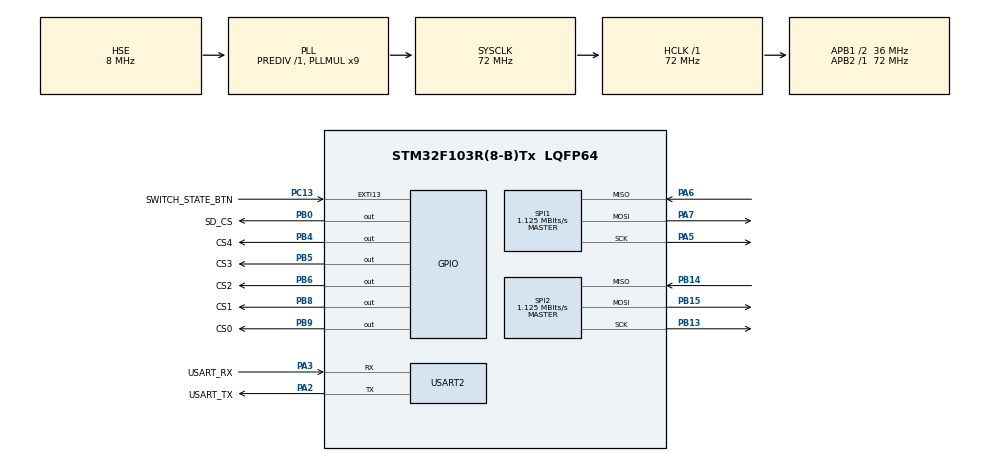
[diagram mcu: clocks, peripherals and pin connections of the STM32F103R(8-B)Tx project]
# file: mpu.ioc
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Dma.Request0=SPI2_RX
Dma.Request1=SPI2_TX
Dma.SPI2_RX.0.Direction=DMA_PERIPH_TO_MEMORY
Dma.SPI2_RX.0.Instance=DMA1_Channel4
Dma.SPI2_RX.0.MemDataAlignment=DMA_MDATAALIGN_BYTE
Dma.SPI2_RX.0.MemInc=DMA_MINC_ENABLE
Dma.SPI2_RX.0.Mode=DMA_NORMAL
Dma.SPI2_RX.0.PeriphDataAlignment=DMA_PDATAALIGN_BYTE
Dma.SPI2_RX.0.PeriphInc=DMA_PINC_DISABLE
Dma.SPI2_RX.0.Priority=DMA_PRIORITY_LOW
Dma.SPI2_TX.1.Direction=DMA_MEMORY_TO_PERIPH
Dma.SPI2_TX.1.Instance=DMA1_Channel5
Dma.SPI2_TX.1.MemDataAlignment=DMA_MDATAALIGN_BYTE
Dma.SPI2_TX.1.MemInc=DMA_MINC_ENABLE
Dma.SPI2_TX.1.Mode=DMA_NORMAL
Dma.SPI2_TX.1.PeriphDataAlignment=DMA_PDATAALIGN_BYTE
Dma.SPI2_TX.1.PeriphInc=DMA_PINC_DISABLE
Dma.SPI2_TX.1.Priority=DMA_PRIORITY_LOW
Mcu.Family=STM32F1
Mcu.Name=STM32F103R(8-B)Tx
Mcu.Package=LQFP64
NVIC.DMA1_Channel4_IRQn=true\:0\:0\:false\:false\:true\:false\:true\:true
NVIC.DMA1_Channel5_IRQn=true\:0\:0\:false\:false\:true\:false\:true\:true
NVIC.EXTI15_10_IRQn=true\:0\:0\:false\:false\:true\:true\:true\:true
NVIC.PriorityGroup=NVIC_PRIORITYGROUP_4
PA13.GPIO_Label=TMS
PA13.Mode=Serial_Wire
PA13.Signal=SYS_JTMS-SWDIO
PA14.GPIO_Label=TCK
PA14.Mode=Serial_Wire
PA14.Signal=SYS_JTCK-SWCLK
PA2.GPIO_Label=USART_TX
PA2.GPIO_Mode=GPIO_MODE_AF_PP
PA2.GPIO_PuPd=GPIO_NOPULL
PA2.GPIO_Speed=GPIO_SPEED_FREQ_LOW
PA2.Mode=Asynchronous
PA2.Signal=USART2_TX
PA3.GPIO_Label=USART_RX
PA3.GPIO_Mode=GPIO_MODE_AF_PP
PA3.GPIO_PuPd=GPIO_NOPULL
PA3.GPIO_Speed=GPIO_SPEED_FREQ_LOW
PA3.Mode=Asynchronous
PA3.Signal=USART2_RX
PA5.Mode=Full_Duplex_Master
PA5.Signal=SPI1_SCK
PA6.Mode=Full_Duplex_Master
PA6.Signal=SPI1_MISO
PA7.Mode=Full_Duplex_Master
PA7.Signal=SPI1_MOSI
PB0.GPIO_Label=SD_CS
PB0.GPIO_PuPd=GPIO_PULLUP
PB0.PinState=GPIO_PIN_SET
PB0.Signal=GPIO_Output
PB13.Mode=Full_Duplex_Master
PB13.Signal=SPI2_SCK
PB14.Mode=Full_Duplex_Master
PB14.Signal=SPI2_MISO
PB15.Mode=Full_Duplex_Master
PB15.Signal=SPI2_MOSI
PB3.GPIO_Label=SWO
PB3.Signal=SYS_JTDO-TRACESWO
PB4.GPIO_Label=CS4
PB4.GPIO_PuPd=GPIO_PULLUP
PB4.GPIO_Speed=GPIO_SPEED_FREQ_LOW
PB4.PinState=GPIO_PIN_SET
PB4.Signal=GPIO_Output
PB5.GPIO_Label=CS3
PB5.GPIO_PuPd=GPIO_PULLUP
PB5.GPIO_Speed=GPIO_SPEED_FREQ_LOW
PB5.PinState=GPIO_PIN_SET
PB5.Signal=GPIO_Output
PB6.GPIO_Label=CS2
PB6.GPIO_PuPd=GPIO_PULLUP
PB6.GPIO_Speed=GPIO_SPEED_FREQ_LOW
PB6.PinState=GPIO_PIN_SET
PB6.Signal=GPIO_Output
PB8.GPIO_Label=CS1
PB8.GPIO_PuPd=GPIO_PULLUP
PB8.PinState=GPIO_PIN_SET
PB8.Signal=GPIO_Output
PB9.GPIO_Label=CS0
PB9.GPIO_PuPd=GPIO_PULLUP
PB9.PinState=GPIO_PIN_SET
PB9.Signal=GPIO_Output
PC13-TAMPER-RTC.GPIO_Label=SWITCH_STATE_BTN
PC13-TAMPER-RTC.GPIO_ModeDefaultEXTI=GPIO_MODE_IT_FALLING
PC13-TAMPER-RTC.Signal=GPXTI13
PC14-OSC32_IN.Mode=LSE-External-Oscillator
PC14-OSC32_IN.Signal=RCC_OSC32_IN
PC15-OSC32_OUT.Mode=LSE-External-Oscillator
PC15-OSC32_OUT.Signal=RCC_OSC32_OUT
PD0-OSC_IN.Mode=HSE-External-Oscillator
PD0-OSC_IN.Signal=RCC_OSC_IN
PD1-OSC_OUT.Mode=HSE-External-Oscillator
PD1-OSC_OUT.Signal=RCC_OSC_OUT
ProjectManager.HeapSize=0x200
ProjectManager.StackSize=0x400
ProjectManager.TargetToolchain=MDK-ARM V5.32
RCC.AHBFreq_Value=72000000
RCC.APB1CLKDivider=RCC_HCLK_DIV2
RCC.APB1Freq_Value=36000000
RCC.APB1TimFreq_Value=72000000
RCC.APB2Freq_Value=72000000
RCC.APB2TimFreq_Value=72000000
RCC.HCLKFreq_Value=72000000
RCC.PLLMUL=RCC_PLL_MUL9
RCC.PLLSourceVirtual=RCC_PLLSOURCE_HSE
RCC.RTCClockSelection=RCC_RTCCLKSOURCE_LSE
RCC.SYSCLKFreq_VALUE=72000000
RCC.SYSCLKSource=RCC_SYSCLKSOURCE_PLLCLK
RCC.USBFreq_Value=72000000
SPI1.BaudRatePrescaler=SPI_BAUDRATEPRESCALER_64
SPI1.CalculateBaudRate=1.125 MBits/s
SPI1.Direction=SPI_DIRECTION_2LINES
SPI1.Mode=SPI_MODE_MASTER
SPI1.VirtualType=VM_MASTER
SPI2.BaudRatePrescaler=SPI_BAUDRATEPRESCALER_32
SPI2.CalculateBaudRate=1.125 MBits/s
SPI2.Direction=SPI_DIRECTION_2LINES
SPI2.Mode=SPI_MODE_MASTER
SPI2.VirtualType=VM_MASTER
USART2.VirtualMode=VM_ASYNC
board=NUCLEO-F103RB

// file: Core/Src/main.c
/* USER CODE BEGIN Header */
/**
  ******************************************************************************
  * @file           : main.c
  * @brief          : Main program body
  ******************************************************************************
  * @attention
  *
  * Copyright (c) 2025 STMicroelectronics.
  * All rights reserved.
  *
  * This software is licensed under terms that can be found in the LICENSE file
  * in the root directory of this software component.
  * If no LICENSE file comes with this software, it is provided AS-IS.
  *
  ******************************************************************************
  */
/* USER CODE END Header */
#include "main.h"

/* USER CODE BEGIN Includes */

#include "stdio.h"
#include "string.h"

#include "mpu6050.h"
#include "sd.h"

/* USER CODE END Includes */

/* USER CODE BEGIN PTD */

typedef struct
{
    MPU6500_t mpu_state;

		// CS info
	  GPIO_TypeDef *cs_port;
    uint16_t      cs_pin;

} MPUDescr_t;

typedef struct __attribute__((packed)) {
    uint8_t mpu_id;
    float   kx; // roll
    float   ky; // pitch
} LogPacket_t;

typedef enum
{
	NONE = 0,
	WRITE = 1,
  WAIT_AFTER_WRITE = 2,
	READ = 3,
	WAIT_AFTER_READ = 4,
	STATES_NUM = 5
} ProgState_t;

typedef enum
{
  CHUNK_FREE = 0,
  CHUNK_COMMITTED = 1,
  CHUNK_LOCKED = -1,
  CHUNK_IN_TRANSACTION = 2,
} Chunk_state_t;

typedef struct
{
  uint8_t packNum;
  uint8_t * dataPtr;
} PeekResults;

#define LOG_BUFFER_SIZE 1024
#define NUM_CHUNKS 2
typedef struct
{
    uint8_t  data[LOG_BUFFER_SIZE];

    volatile uint16_t head;
    volatile uint16_t tail;
		volatile int8_t states_of_chunks[NUM_CHUNKS];

} RingBuffer_t;

/* USER CODE END PTD */

/* USER CODE BEGIN PD */

#define NUM_MPU_SPI 5
#define MAX_BLOCK_BYTES_NUM 504
#define PACKET_SIZE 9

/* USER CODE END PD */

SPI_HandleTypeDef hspi1;
SPI_HandleTypeDef hspi2;
DMA_HandleTypeDef hdma_spi2_rx;
DMA_HandleTypeDef hdma_spi2_tx;

UART_HandleTypeDef huart2;

/* USER CODE BEGIN PV */

static volatile ProgState_t curr_state = NONE;

static volatile uint8_t is_changed_state = 0;
static volatile uint32_t sd_write_block_counter = 0;
static volatile uint8_t need_send = 1;

volatile uint32_t last_click_ticks = 0u;

static MPUDescr_t mpu_descriptors[5] = {
    { {0}, CS0_GPIO_Port, CS0_Pin },
    { {0}, CS1_GPIO_Port, CS1_Pin },
    { {0}, CS2_GPIO_Port, CS2_Pin },
    { {0}, CS3_GPIO_Port, CS3_Pin },
		{ {0}, CS4_GPIO_Port, CS4_Pin },
};

static RingBuffer_t log_rb;

/* USER CODE END PV */

void SystemClock_Config(void);
static void MX_GPIO_Init(void);
static void MX_DMA_Init(void);
static void MX_USART2_UART_Init(void);
static void MX_SPI1_Init(void);
static void MX_SPI2_Init(void);

/* USER CODE BEGIN 0 */

static inline void rb_init(RingBuffer_t *rb)
{
    rb->head = 0;
    rb->tail = 0;

    for (int i = 0; i < NUM_CHUNKS; i++) {
        rb->states_of_chunks[i] = CHUNK_FREE;
    }

    memset(rb->data, 0, sizeof(rb->data));
}

static inline uint32_t chunk_start_ind(uint16_t chunk_id)
{
  return (uint32_t)chunk_id * SD_CHUNK_SIZE;
}

static inline uint32_t chunk_end_bound(uint16_t chunk_id)
{
  return chunk_start_ind(chunk_id) + MAX_BLOCK_BYTES_NUM;
}

static inline uint8_t curr_chunk(uint16_t curr_ind)
{
  return (curr_ind / SD_CHUNK_SIZE) % NUM_CHUNKS;
}

inline static uint8_t next_chunk(uint16_t chunk_id)
{
  return (chunk_id + 1) % NUM_CHUNKS;
}

static int16_t rb_push_bytes(uint8_t * src, uint16_t len)
{

  if (len == 0 || len > MAX_BLOCK_BYTES_NUM)
    return 0;

  uint8_t operated_chunk = curr_chunk(log_rb.head);

  if (log_rb.states_of_chunks[operated_chunk] != CHUNK_FREE)
    return -1;

  uint32_t start = chunk_start_ind(operated_chunk);
  uint32_t bound = start + MAX_BLOCK_BYTES_NUM;

  uint32_t offset_in_chunk = log_rb.head - start;
  uint32_t avail = MAX_BLOCK_BYTES_NUM - offset_in_chunk;

  if (len > avail)
  {
    return 0;
  }

  for (uint16_t i = 0; i < len; i++) {
      log_rb.data[(log_rb.head)++] = src[i];
  }

  log_rb.data[start + SD_CHUNK_SIZE - 1] += (len / PACKET_SIZE);

  if (log_rb.head == bound)
  {
    log_rb.states_of_chunks[operated_chunk] = CHUNK_LOCKED;
    log_rb.head = chunk_start_ind(next_chunk(operated_chunk));
  }

  return len;
}

static int16_t log_push_packet(uint8_t mpu_idx, const MPU6500_t *mpu_state)
{
    LogPacket_t pkt;
    pkt.mpu_id = mpu_idx;
    pkt.kx = (float)mpu_state->KalmanAngleX;
    pkt.ky = (float)mpu_state->KalmanAngleY;

    return rb_push_bytes((uint8_t *) &pkt, sizeof(pkt));
}

void parse_and_send_packets(const uint8_t *data, uint16_t packet_num)
{
    if (packet_num == 0)
        return;
    const uint16_t max_packets = MAX_BLOCK_BYTES_NUM / PACKET_SIZE;
    if (packet_num > max_packets) packet_num = max_packets;

    char line[64];

    for (uint16_t i = 0; i < packet_num; ++i) {

        const uint32_t offset = (uint32_t)i * PACKET_SIZE;
        if (offset + PACKET_SIZE > SD_CHUNK_SIZE) break;

        LogPacket_t pkt;
        memcpy(&pkt, data + i * PACKET_SIZE, PACKET_SIZE);

        int len = snprintf(line, sizeof(line),
                           "#%d#%.4f#%.4f\r\n",
                           pkt.mpu_id, pkt.kx, pkt.ky);
        if (len <= 0) {
            break;
        }
        if (len >= (int)sizeof(line))
				{
            len = sizeof(line) - 1;
        }

        HAL_UART_Transmit(&huart2, (uint8_t*)line, (uint16_t)len, HAL_MAX_DELAY);
    }
}

static void log_peek_chunk(PeekResults *pRes)
{
    uint16_t tail = log_rb.tail;
    uint8_t chunk_id = curr_chunk(tail);

    uint32_t start = chunk_start_ind(chunk_id);

    pRes->dataPtr = &log_rb.data[start];

    pRes->packNum = log_rb.data[start + SD_CHUNK_SIZE - 1];
}

static void send_mpu_data(uint8_t idx)
{
		MPU6500_t* mpu_state = &mpu_descriptors[idx].mpu_state;

    char buf[64];

		int len = snprintf(buf, sizeof(buf),
											 "#%d#%.4f#%.4f\r\n",
											 idx,
											 mpu_state->KalmanAngleX,
                       mpu_state->KalmanAngleY);

    if (len > 0 && len < (int)sizeof(buf))
		{
        HAL_UART_Transmit(&huart2, (uint8_t *)buf, (uint16_t)len, 100);
    }
}

static void none_state_act(uint8_t* raw){
  for (int i = 0; i < NUM_MPU_SPI; ++i) {
    if (mpu_read_registers(&hspi1, mpu_descriptors[i].cs_port, mpu_descriptors[i].cs_pin, ACCEL_XOUT_H_REG, raw, 14) == HAL_OK)
    {
      process_mpu_data(&mpu_descriptors[i].mpu_state, raw);
      send_mpu_data(i);
    }
  }
}

static uint8_t iterate_sent_chunks(){
  uint8_t processed_num = 0u;
  for(int i = 0; i < NUM_CHUNKS; i++){
		uint8_t last_tail = 0;

    switch (log_rb.states_of_chunks[i]){
      case CHUNK_LOCKED:
        last_tail = log_rb.tail;
        PeekResults chunkInf;
        log_peek_chunk(&chunkInf);
        log_rb.states_of_chunks[i] = CHUNK_IN_TRANSACTION;

        int DMA_send_status = SD_StartWriteBlock(START_BLOCK_NUM + sd_write_block_counter, chunkInf.dataPtr, 100);
        if(DMA_send_status != HAL_OK){
          log_rb.tail = last_tail;
          log_rb.states_of_chunks[i] = CHUNK_LOCKED;
        }
        //processed_num++;
        break;
			case CHUNK_COMMITTED:
					SD_FinishWriteBlock();
					sd_write_block_counter++;
					log_rb.states_of_chunks[i] = CHUNK_FREE;

					uint8_t chunk_id = curr_chunk(log_rb.tail);
					log_rb.tail = chunk_start_ind((chunk_id + 1) % NUM_CHUNKS);

					uint32_t start = chunk_start_ind(i);
					log_rb.data[start + SD_CHUNK_SIZE - 1] = 0;
					break;
      case CHUNK_IN_TRANSACTION:
        processed_num++;
        break;
    }
  }
  return processed_num;
}

static void write_state_act(uint8_t* raw)
{
  if(is_changed_state)
  {
    rb_init(&log_rb);
    is_changed_state = 0u;
  }

  for (int i = 0; i < NUM_MPU_SPI; ++i) {
    if (mpu_read_registers(&hspi1, mpu_descriptors[i].cs_port, mpu_descriptors[i].cs_pin, ACCEL_XOUT_H_REG, raw, 14) == HAL_OK)
    {
      process_mpu_data(&mpu_descriptors[i].mpu_state, raw);
      uint16_t push_res = log_push_packet(i, &mpu_descriptors[i].mpu_state);
      if(push_res > 0){
        send_mpu_data(i);
      }
      iterate_sent_chunks();
    }
  }
}

static void read_state_act()
{
  if(is_changed_state)
  {
    rb_init(&log_rb);
    is_changed_state = 0u;
  }

	if(sd_write_block_counter != 0)
	{
    int code = SD_ReadBegin(START_BLOCK_NUM);
    if(code < 0) {
        return;
    }
    for (int i = 0; i < sd_write_block_counter; i++){
      code = SD_ReadData(log_rb.data);
      if(code >= 0)
      {
        uint8_t packet_num = log_rb.data[SD_CHUNK_SIZE-1];
        if (packet_num == 0 || packet_num > MAX_BLOCK_BYTES_NUM/PACKET_SIZE){
          continue;
        }
        parse_and_send_packets(log_rb.data, packet_num);
      }
    }

    code = SD_ReadEnd();
    if(code < 0)
    {
        return;
    }

		curr_state = WAIT_AFTER_READ;
		sd_write_block_counter = 0;
	}
}

static void poll_loop_spi(void)
{
  uint8_t raw_data[14];
  while (1)
  {
    switch(curr_state)
    {
      case NONE:
        none_state_act(raw_data);
        break;
      case WRITE:
        write_state_act(raw_data);
        break;
      case WAIT_AFTER_WRITE:
        if(need_send)
        {
          need_send = iterate_sent_chunks();
        }
        break;
      case READ:
        read_state_act();
        break;
      default:
        break;
    }
  }
}

void HAL_SPI_TxCpltCallback(SPI_HandleTypeDef *hspi)
{
    if(hspi == &SD_SPI_PORT) {
      for(int i = 0; i < NUM_CHUNKS; i++)
      {
        if(log_rb.states_of_chunks[i] == CHUNK_IN_TRANSACTION)
        {
          log_rb.states_of_chunks[i] = CHUNK_COMMITTED;
        }
      }
    }
}

void HAL_GPIO_EXTI_Callback(uint16_t GPIO_Pin)
{
	if(GPIO_Pin == SWITCH_STATE_BTN_Pin)
	{
		uint32_t curr_click_ticks = HAL_GetTick();
		if(curr_click_ticks - last_click_ticks >= MIN_CLICK_INTERVAL)
		{
			last_click_ticks = curr_click_ticks;
			if(curr_state == WAIT_AFTER_WRITE && need_send != 0)
			{
					return;
			}

			if(++curr_state == STATES_NUM)
			{
				curr_state = NONE;
			}

			is_changed_state = 1;
		}
	}
}

/* USER CODE END 0 */

int main(void)
{

  /* MCU Configuration--------------------------------------------------------*/

  /* Reset of all peripherals, Initializes the Flash interface and the Systick. */
  HAL_Init();

  /* Configure the system clock */
  SystemClock_Config();

  /* Initialize all configured peripherals */
  MX_GPIO_Init();
  MX_DMA_Init();
  MX_USART2_UART_Init();
  MX_SPI1_Init();
  MX_SPI2_Init();
  /* USER CODE BEGIN 2 */

	last_click_ticks = HAL_GetTick();
	SD_Init();

	rb_init(&log_rb);

  for (int i = 0; i < NUM_MPU_SPI; ++i) {
      init_mpu(&hspi1, mpu_descriptors[i].cs_port, mpu_descriptors[i].cs_pin);
  }
	HAL_Delay(100);
	for (int i = 0; i < NUM_MPU_SPI; ++i)
	{
		mpu_descriptors[i].mpu_state.timer = HAL_GetTick();

		Kalman_Init(&mpu_descriptors[i].mpu_state.KalmanX);
		Kalman_Init(&mpu_descriptors[i].mpu_state.KalmanY);
	}
	curr_state = NONE;
  poll_loop_spi();
  /* USER CODE END 2 */

  /* Infinite loop */
  /* USER CODE BEGIN WHILE */
//  while (1)
//  {
//
    /* USER CODE END WHILE */

    /* USER CODE BEGIN 3 */
//  }
  /* USER CODE END 3 */
}

void SystemClock_Config(void)
{
  RCC_OscInitTypeDef RCC_OscInitStruct = {0};
  RCC_ClkInitTypeDef RCC_ClkInitStruct = {0};

  /** Initializes the RCC Oscillators according to the specified parameters
  * in the RCC_OscInitTypeDef structure.
  */
  RCC_OscInitStruct.OscillatorType = RCC_OSCILLATORTYPE_HSE;
  RCC_OscInitStruct.HSEState = RCC_HSE_ON;
  RCC_OscInitStruct.HSEPredivValue = RCC_HSE_PREDIV_DIV1;
  RCC_OscInitStruct.HSIState = RCC_HSI_ON;
  RCC_OscInitStruct.PLL.PLLState = RCC_PLL_ON;
  RCC_OscInitStruct.PLL.PLLSource = RCC_PLLSOURCE_HSE;
  RCC_OscInitStruct.PLL.PLLMUL = RCC_PLL_MUL9;
  if (HAL_RCC_OscConfig(&RCC_OscInitStruct) != HAL_OK)
  {
    Error_Handler();
  }

  /** Initializes the CPU, AHB and APB buses clocks
  */
  RCC_ClkInitStruct.ClockType = RCC_CLOCKTYPE_HCLK|RCC_CLOCKTYPE_SYSCLK
                              |RCC_CLOCKTYPE_PCLK1|RCC_CLOCKTYPE_PCLK2;
  RCC_ClkInitStruct.SYSCLKSource = RCC_SYSCLKSOURCE_PLLCLK;
  RCC_ClkInitStruct.AHBCLKDivider = RCC_SYSCLK_DIV1;
  RCC_ClkInitStruct.APB1CLKDivider = RCC_HCLK_DIV2;
  RCC_ClkInitStruct.APB2CLKDivider = RCC_HCLK_DIV1;

  if (HAL_RCC_ClockConfig(&RCC_ClkInitStruct, FLASH_LATENCY_2) != HAL_OK)
  {
    Error_Handler();
  }
}

static void MX_SPI1_Init(void)
{

  /* SPI1 parameter configuration*/
  hspi1.Instance = SPI1;
  hspi1.Init.Mode = SPI_MODE_MASTER;
  hspi1.Init.Direction = SPI_DIRECTION_2LINES;
  hspi1.Init.DataSize = SPI_DATASIZE_8BIT;
  hspi1.Init.CLKPolarity = SPI_POLARITY_LOW;
  hspi1.Init.CLKPhase = SPI_PHASE_1EDGE;
  hspi1.Init.NSS = SPI_NSS_SOFT;
  hspi1.Init.BaudRatePrescaler = SPI_BAUDRATEPRESCALER_64;
  hspi1.Init.FirstBit = SPI_FIRSTBIT_MSB;
  hspi1.Init.TIMode = SPI_TIMODE_DISABLE;
  hspi1.Init.CRCCalculation = SPI_CRCCALCULATION_DISABLE;
  hspi1.Init.CRCPolynomial = 10;
  if (HAL_SPI_Init(&hspi1) != HAL_OK)
  {
    Error_Handler();
  }

}

static void MX_SPI2_Init(void)
{

  /* SPI2 parameter configuration*/
  hspi2.Instance = SPI2;
  hspi2.Init.Mode = SPI_MODE_MASTER;
  hspi2.Init.Direction = SPI_DIRECTION_2LINES;
  hspi2.Init.DataSize = SPI_DATASIZE_8BIT;
  hspi2.Init.CLKPolarity = SPI_POLARITY_LOW;
  hspi2.Init.CLKPhase = SPI_PHASE_1EDGE;
  hspi2.Init.NSS = SPI_NSS_SOFT;
  hspi2.Init.BaudRatePrescaler = SPI_BAUDRATEPRESCALER_32;
  hspi2.Init.FirstBit = SPI_FIRSTBIT_MSB;
  hspi2.Init.TIMode = SPI_TIMODE_DISABLE;
  hspi2.Init.CRCCalculation = SPI_CRCCALCULATION_DISABLE;
  hspi2.Init.CRCPolynomial = 10;
  if (HAL_SPI_Init(&hspi2) != HAL_OK)
  {
    Error_Handler();
  }

}

static void MX_USART2_UART_Init(void)
{

  huart2.Instance = USART2;
  huart2.Init.BaudRate = 115200;
  huart2.Init.WordLength = UART_WORDLENGTH_8B;
  huart2.Init.StopBits = UART_STOPBITS_1;
  huart2.Init.Parity = UART_PARITY_NONE;
  huart2.Init.Mode = UART_MODE_TX_RX;
  huart2.Init.HwFlowCtl = UART_HWCONTROL_NONE;
  huart2.Init.OverSampling = UART_OVERSAMPLING_16;
  if (HAL_UART_Init(&huart2) != HAL_OK)
  {
    Error_Handler();
  }

}

static void MX_DMA_Init(void)
{

  /* DMA controller clock enable */
  __HAL_RCC_DMA1_CLK_ENABLE();

  /* DMA interrupt init */
  /* DMA1_Channel4_IRQn interrupt configuration */
  HAL_NVIC_SetPriority(DMA1_Channel4_IRQn, 0, 0);
  HAL_NVIC_EnableIRQ(DMA1_Channel4_IRQn);
  /* DMA1_Channel5_IRQn interrupt configuration */
  HAL_NVIC_SetPriority(DMA1_Channel5_IRQn, 0, 0);
  HAL_NVIC_EnableIRQ(DMA1_Channel5_IRQn);

}

static void MX_GPIO_Init(void)
{
  GPIO_InitTypeDef GPIO_InitStruct = {0};

  /* GPIO Ports Clock Enable */
  __HAL_RCC_GPIOC_CLK_ENABLE();
  __HAL_RCC_GPIOD_CLK_ENABLE();
  __HAL_RCC_GPIOA_CLK_ENABLE();
  __HAL_RCC_GPIOB_CLK_ENABLE();

  /*Configure GPIO pin Output Level */
  HAL_GPIO_WritePin(GPIOB, SD_CS_Pin|CS4_Pin|CS3_Pin|CS2_Pin
                          |CS1_Pin|CS0_Pin, GPIO_PIN_SET);

  /*Configure GPIO pin : SWITCH_STATE_BTN_Pin */
  GPIO_InitStruct.Pin = SWITCH_STATE_BTN_Pin;
  GPIO_InitStruct.Mode = GPIO_MODE_IT_FALLING;
  GPIO_InitStruct.Pull = GPIO_NOPULL;
  HAL_GPIO_Init(SWITCH_STATE_BTN_GPIO_Port, &GPIO_InitStruct);

  /*Configure GPIO pins : SD_CS_Pin CS4_Pin CS3_Pin CS2_Pin
                           CS1_Pin CS0_Pin */
  GPIO_InitStruct.Pin = SD_CS_Pin|CS4_Pin|CS3_Pin|CS2_Pin
                          |CS1_Pin|CS0_Pin;
  GPIO_InitStruct.Mode = GPIO_MODE_OUTPUT_PP;
  GPIO_InitStruct.Pull = GPIO_PULLUP;
  GPIO_InitStruct.Speed = GPIO_SPEED_FREQ_LOW;
  HAL_GPIO_Init(GPIOB, &GPIO_InitStruct);

  /* EXTI interrupt init*/
  HAL_NVIC_SetPriority(EXTI15_10_IRQn, 0, 0);
  HAL_NVIC_EnableIRQ(EXTI15_10_IRQn);

}

void Error_Handler(void)
{
  __disable_irq();
  while (1)
  {
  }
}
